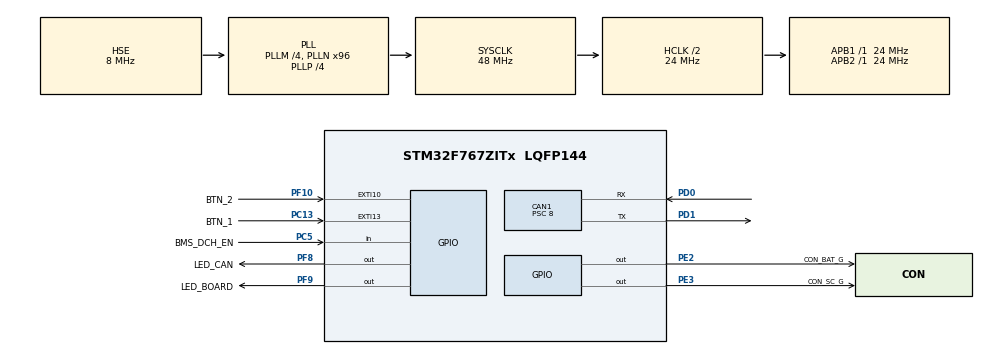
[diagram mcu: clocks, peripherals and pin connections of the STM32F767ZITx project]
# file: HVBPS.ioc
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CAN1.BS1=CAN_BS1_2TQ
CAN1.BS2=CAN_BS2_3TQ
CAN1.CalculateBaudRate=500000
CAN1.CalculateTimeBit=2000
CAN1.CalculateTimeQuantum=333.3333333333333
CAN1.Prescaler=8
CAN1.SJW=CAN_SJW_2TQ
CORTEX_M7.default_mode_Activation=1
Mcu.Family=STM32F7
Mcu.Name=STM32F767ZITx
Mcu.Package=LQFP144
NVIC.CAN1_RX0_IRQn=true\:0\:0\:false\:false\:true\:true\:true\:true
NVIC.EXTI15_10_IRQn=true\:0\:0\:false\:false\:true\:true\:true\:true
NVIC.PriorityGroup=NVIC_PRIORITYGROUP_4
NVIC.TIM2_IRQn=true\:0\:0\:false\:false\:true\:true\:true\:true
PC13.GPIO_Label=BTN_1
PC13.GPIO_ModeDefaultEXTI=GPIO_MODE_IT_FALLING
PC13.GPIO_PuPd=GPIO_PULLUP
PC13.Signal=GPXTI13
PC5.GPIO_Label=BMS_DCH_EN
PC5.GPIO_PuPd=GPIO_PULLUP
PC5.Signal=GPIO_Input
PD0.GPIO_PuPd=GPIO_PULLUP
PD0.Mode=CAN_Activate
PD0.Signal=CAN1_RX
PD1.Mode=CAN_Activate
PD1.Signal=CAN1_TX
PE2.GPIO_Label=CON_BAT_G
PE2.Signal=GPIO_Output
PE3.GPIO_Label=CON_SC_G
PE3.Signal=GPIO_Output
PF10.GPIO_Label=BTN_2
PF10.GPIO_ModeDefaultEXTI=GPIO_MODE_IT_FALLING
PF10.GPIO_PuPd=GPIO_PULLUP
PF10.Signal=GPXTI10
PF8.GPIO_Label=LED_CAN
PF8.Signal=GPIO_Output
PF9.GPIO_Label=LED_BOARD
PF9.Signal=GPIO_Output
PH0/OSC_IN.Mode=HSE-External-Oscillator
PH0/OSC_IN.Signal=RCC_OSC_IN
PH1/OSC_OUT.Mode=HSE-External-Oscillator
PH1/OSC_OUT.Signal=RCC_OSC_OUT
ProjectManager.HeapSize=0x200
ProjectManager.StackSize=0x400
ProjectManager.TargetToolchain=STM32CubeIDE
RCC.AHBCLKDivider=RCC_SYSCLK_DIV2
RCC.AHBFreq_Value=24000000
RCC.APB1Freq_Value=24000000
RCC.APB1TimFreq_Value=24000000
RCC.APB2Freq_Value=24000000
RCC.APB2TimFreq_Value=24000000
RCC.CortexFreq_Value=24000000
RCC.HCLKFreq_Value=24000000
RCC.HSE_VALUE=8000000
RCC.HSI_VALUE=16000000
RCC.LSE_VALUE=32768
RCC.PLLM=4
RCC.PLLN=96
RCC.PLLP=RCC_PLLP_DIV4
RCC.PLLSourceVirtual=RCC_PLLSOURCE_HSE
RCC.SYSCLKFreq_VALUE=48000000
RCC.SYSCLKSource=RCC_SYSCLKSOURCE_PLLCLK
RCC.USBFreq_Value=96000000
RCC.VCOOutputFreq_Value=192000000
TIM2.Period=1000000
TIM2.Prescaler=24
VP_TIM2_VS_ClockSourceINT.Mode=Internal
board=custom

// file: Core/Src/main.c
/* USER CODE BEGIN Header */
/**
  ******************************************************************************
  * @file           : main.c
  * @brief          : Main program body
  ******************************************************************************
  * @attention
  *
  * Copyright (c) 2024 STMicroelectronics.
  * All rights reserved.
  *
  * This software is licensed under terms that can be found in the LICENSE file
  * in the root directory of this software component.
  * If no LICENSE file comes with this software, it is provided AS-IS.
  *
  ******************************************************************************
  */
/* USER CODE END Header */
#include "main.h"

/* USER CODE BEGIN Includes */
#include "subscriber.h"
#include "publisher.h"
#include "state.h"
/* USER CODE END Includes */

CAN_HandleTypeDef hcan1;

TIM_HandleTypeDef htim2;

/* USER CODE BEGIN PV */

uint32_t TxMailbox;

/* USER CODE END PV */

void SystemClock_Config(void);
static void MPU_Config(void);
static void MX_GPIO_Init(void);
static void MX_CAN1_Init(void);
static void MX_TIM2_Init(void);

/* USER CODE BEGIN 0 */
void HAL_CAN_RxFifo0MsgPendingCallback(CAN_HandleTypeDef *hcan) {
	CAN_RxHeaderTypeDef header;
	union {
		struct {
			uint16_t param_id;
			int data;
		};
		uint8_t convert[8];
	} conversion;
	HAL_CAN_GetRxMessage(&hcan1, CAN_RX_FIFO0, &header, conversion.convert);
	update(conversion.param_id, &conversion.data);
}

void HAL_GPIO_EXTI_Callback(uint16_t pin) {

}

void bms_parameter_handler() {
	// get bms info, update some stuff, you pick up what I am putting down
}
/* USER CODE END 0 */

int main(void)
{

  /* MPU Configuration--------------------------------------------------------*/
  MPU_Config();

  /* MCU Configuration--------------------------------------------------------*/

  /* Reset of all peripherals, Initializes the Flash interface and the Systick. */
  HAL_Init();

  /* Configure the system clock */
  SystemClock_Config();

  /* Initialize all configured peripherals */
  MX_GPIO_Init();
  MX_CAN1_Init();
  MX_TIM2_Init();
  /* USER CODE BEGIN 2 */
  HAL_CAN_Start(&hcan1);
  HAL_CAN_ActivateNotification(&hcan1, CAN_IT_RX_FIFO0_MSG_PENDING);

  hvbps_state_t state;
  init_state(&state);
  hvbps_state_t last = state;

  node_t motor_power_requested_node = { .param_id = 104, .bval = & state.motor_power_requested };
  subscribe(&motor_power_requested_node);
  node_t main_power_requested_node = {.param_id = 105, .bval = & state.main_power_requested };
  subscribe(&main_power_requested_node);

  /* USER CODE END 2 */

  /* Infinite loop */
  while (1)
  {

    /* USER CODE BEGIN 3 */
    notify_loop(&hcan1, &TxMailbox);
    state_recalculate(&state, &last);

  }
  /* USER CODE END 3 */
}

void SystemClock_Config(void)
{
  RCC_OscInitTypeDef RCC_OscInitStruct = {0};
  RCC_ClkInitTypeDef RCC_ClkInitStruct = {0};

  /** Configure the main internal regulator output voltage
  */
  __HAL_RCC_PWR_CLK_ENABLE();
  __HAL_PWR_VOLTAGESCALING_CONFIG(PWR_REGULATOR_VOLTAGE_SCALE3);

  /** Initializes the RCC Oscillators according to the specified parameters
  * in the RCC_OscInitTypeDef structure.
  */
  RCC_OscInitStruct.OscillatorType = RCC_OSCILLATORTYPE_HSE;
  RCC_OscInitStruct.HSEState = RCC_HSE_ON;
  RCC_OscInitStruct.PLL.PLLState = RCC_PLL_ON;
  RCC_OscInitStruct.PLL.PLLSource = RCC_PLLSOURCE_HSE;
  RCC_OscInitStruct.PLL.PLLM = 4;
  RCC_OscInitStruct.PLL.PLLN = 96;
  RCC_OscInitStruct.PLL.PLLP = RCC_PLLP_DIV4;
  RCC_OscInitStruct.PLL.PLLQ = 2;
  RCC_OscInitStruct.PLL.PLLR = 2;
  if (HAL_RCC_OscConfig(&RCC_OscInitStruct) != HAL_OK)
  {
    Error_Handler();
  }

  /** Initializes the CPU, AHB and APB buses clocks
  */
  RCC_ClkInitStruct.ClockType = RCC_CLOCKTYPE_HCLK|RCC_CLOCKTYPE_SYSCLK
                              |RCC_CLOCKTYPE_PCLK1|RCC_CLOCKTYPE_PCLK2;
  RCC_ClkInitStruct.SYSCLKSource = RCC_SYSCLKSOURCE_PLLCLK;
  RCC_ClkInitStruct.AHBCLKDivider = RCC_SYSCLK_DIV2;
  RCC_ClkInitStruct.APB1CLKDivider = RCC_HCLK_DIV1;
  RCC_ClkInitStruct.APB2CLKDivider = RCC_HCLK_DIV1;

  if (HAL_RCC_ClockConfig(&RCC_ClkInitStruct, FLASH_LATENCY_0) != HAL_OK)
  {
    Error_Handler();
  }
}

static void MX_CAN1_Init(void)
{

  hcan1.Instance = CAN1;
  hcan1.Init.Prescaler = 8;
  hcan1.Init.Mode = CAN_MODE_NORMAL;
  hcan1.Init.SyncJumpWidth = CAN_SJW_2TQ;
  hcan1.Init.TimeSeg1 = CAN_BS1_2TQ;
  hcan1.Init.TimeSeg2 = CAN_BS2_3TQ;
  hcan1.Init.TimeTriggeredMode = DISABLE;
  hcan1.Init.AutoBusOff = DISABLE;
  hcan1.Init.AutoWakeUp = DISABLE;
  hcan1.Init.AutoRetransmission = DISABLE;
  hcan1.Init.ReceiveFifoLocked = DISABLE;
  hcan1.Init.TransmitFifoPriority = DISABLE;
  if (HAL_CAN_Init(&hcan1) != HAL_OK)
  {
    Error_Handler();
  }
  /* USER CODE BEGIN CAN1_Init 2 */
  CAN_FilterTypeDef canfilterconfig;

  canfilterconfig.FilterActivation = CAN_FILTER_ENABLE;
  canfilterconfig.FilterBank = 18;  // which filter bank to use from the assigned ones
  canfilterconfig.FilterFIFOAssignment = CAN_FILTER_FIFO0;
  canfilterconfig.FilterIdHigh = 0x000<<5; // 0x001
  canfilterconfig.FilterIdLow = 0;
  canfilterconfig.FilterMaskIdHigh = 0x000<<5; // 0x001
  canfilterconfig.FilterMaskIdLow = 0x0000;
  canfilterconfig.FilterMode = CAN_FILTERMODE_IDMASK;
  canfilterconfig.FilterScale = CAN_FILTERSCALE_32BIT;
  canfilterconfig.SlaveStartFilterBank = 20;  // how many filters to assign to the CAN1 (master can)

  HAL_CAN_ConfigFilter(&hcan1, &canfilterconfig);
  /* USER CODE END CAN1_Init 2 */

}

static void MX_TIM2_Init(void)
{

  TIM_ClockConfigTypeDef sClockSourceConfig = {0};
  TIM_MasterConfigTypeDef sMasterConfig = {0};

  htim2.Instance = TIM2;
  htim2.Init.Prescaler = 24;
  htim2.Init.CounterMode = TIM_COUNTERMODE_UP;
  htim2.Init.Period = 1000000;
  htim2.Init.ClockDivision = TIM_CLOCKDIVISION_DIV1;
  htim2.Init.AutoReloadPreload = TIM_AUTORELOAD_PRELOAD_DISABLE;
  if (HAL_TIM_Base_Init(&htim2) != HAL_OK)
  {
    Error_Handler();
  }
  sClockSourceConfig.ClockSource = TIM_CLOCKSOURCE_INTERNAL;
  if (HAL_TIM_ConfigClockSource(&htim2, &sClockSourceConfig) != HAL_OK)
  {
    Error_Handler();
  }
  sMasterConfig.MasterOutputTrigger = TIM_TRGO_RESET;
  sMasterConfig.MasterSlaveMode = TIM_MASTERSLAVEMODE_DISABLE;
  if (HAL_TIMEx_MasterConfigSynchronization(&htim2, &sMasterConfig) != HAL_OK)
  {
    Error_Handler();
  }

}

static void MX_GPIO_Init(void)
{
  GPIO_InitTypeDef GPIO_InitStruct = {0};

  /* GPIO Ports Clock Enable */
  __HAL_RCC_GPIOE_CLK_ENABLE();
  __HAL_RCC_GPIOC_CLK_ENABLE();
  __HAL_RCC_GPIOF_CLK_ENABLE();
  __HAL_RCC_GPIOH_CLK_ENABLE();
  __HAL_RCC_GPIOD_CLK_ENABLE();

  /*Configure GPIO pin Output Level */
  HAL_GPIO_WritePin(GPIOE, CON_BAT_G_Pin|CON_SC_G_Pin, GPIO_PIN_RESET);

  /*Configure GPIO pin Output Level */
  HAL_GPIO_WritePin(GPIOF, LED_CAN_Pin|LED_BOARD_Pin, GPIO_PIN_RESET);

  /*Configure GPIO pins : CON_BAT_G_Pin CON_SC_G_Pin */
  GPIO_InitStruct.Pin = CON_BAT_G_Pin|CON_SC_G_Pin;
  GPIO_InitStruct.Mode = GPIO_MODE_OUTPUT_PP;
  GPIO_InitStruct.Pull = GPIO_NOPULL;
  GPIO_InitStruct.Speed = GPIO_SPEED_FREQ_LOW;
  HAL_GPIO_Init(GPIOE, &GPIO_InitStruct);

  /*Configure GPIO pin : BTN_1_Pin */
  GPIO_InitStruct.Pin = BTN_1_Pin;
  GPIO_InitStruct.Mode = GPIO_MODE_IT_FALLING;
  GPIO_InitStruct.Pull = GPIO_PULLUP;
  HAL_GPIO_Init(BTN_1_GPIO_Port, &GPIO_InitStruct);

  /*Configure GPIO pins : LED_CAN_Pin LED_BOARD_Pin */
  GPIO_InitStruct.Pin = LED_CAN_Pin|LED_BOARD_Pin;
  GPIO_InitStruct.Mode = GPIO_MODE_OUTPUT_PP;
  GPIO_InitStruct.Pull = GPIO_NOPULL;
  GPIO_InitStruct.Speed = GPIO_SPEED_FREQ_LOW;
  HAL_GPIO_Init(GPIOF, &GPIO_InitStruct);

  /*Configure GPIO pin : BTN_2_Pin */
  GPIO_InitStruct.Pin = BTN_2_Pin;
  GPIO_InitStruct.Mode = GPIO_MODE_IT_FALLING;
  GPIO_InitStruct.Pull = GPIO_PULLUP;
  HAL_GPIO_Init(BTN_2_GPIO_Port, &GPIO_InitStruct);

  /*Configure GPIO pin : BMS_DCH_EN_Pin */
  GPIO_InitStruct.Pin = BMS_DCH_EN_Pin;
  GPIO_InitStruct.Mode = GPIO_MODE_INPUT;
  GPIO_InitStruct.Pull = GPIO_PULLUP;
  HAL_GPIO_Init(BMS_DCH_EN_GPIO_Port, &GPIO_InitStruct);

  /* EXTI interrupt init*/
  HAL_NVIC_SetPriority(EXTI15_10_IRQn, 0, 0);
  HAL_NVIC_EnableIRQ(EXTI15_10_IRQn);

}

 /* MPU Configuration */

void MPU_Config(void)
{
  MPU_Region_InitTypeDef MPU_InitStruct = {0};

  /* Disables the MPU */
  HAL_MPU_Disable();

  /** Initializes and configures the Region and the memory to be protected
  */
  MPU_InitStruct.Enable = MPU_REGION_ENABLE;
  MPU_InitStruct.Number = MPU_REGION_NUMBER0;
  MPU_InitStruct.BaseAddress = 0x0;
  MPU_InitStruct.Size = MPU_REGION_SIZE_4GB;
  MPU_InitStruct.SubRegionDisable = 0x87;
  MPU_InitStruct.TypeExtField = MPU_TEX_LEVEL0;
  MPU_InitStruct.AccessPermission = MPU_REGION_NO_ACCESS;
  MPU_InitStruct.DisableExec = MPU_INSTRUCTION_ACCESS_DISABLE;
  MPU_InitStruct.IsShareable = MPU_ACCESS_SHAREABLE;
  MPU_InitStruct.IsCacheable = MPU_ACCESS_NOT_CACHEABLE;
  MPU_InitStruct.IsBufferable = MPU_ACCESS_NOT_BUFFERABLE;

  HAL_MPU_ConfigRegion(&MPU_InitStruct);
  /* Enables the MPU */
  HAL_MPU_Enable(MPU_PRIVILEGED_DEFAULT);

}

void Error_Handler(void)
{
  __disable_irq();
  while (1)
  {
  }
}
